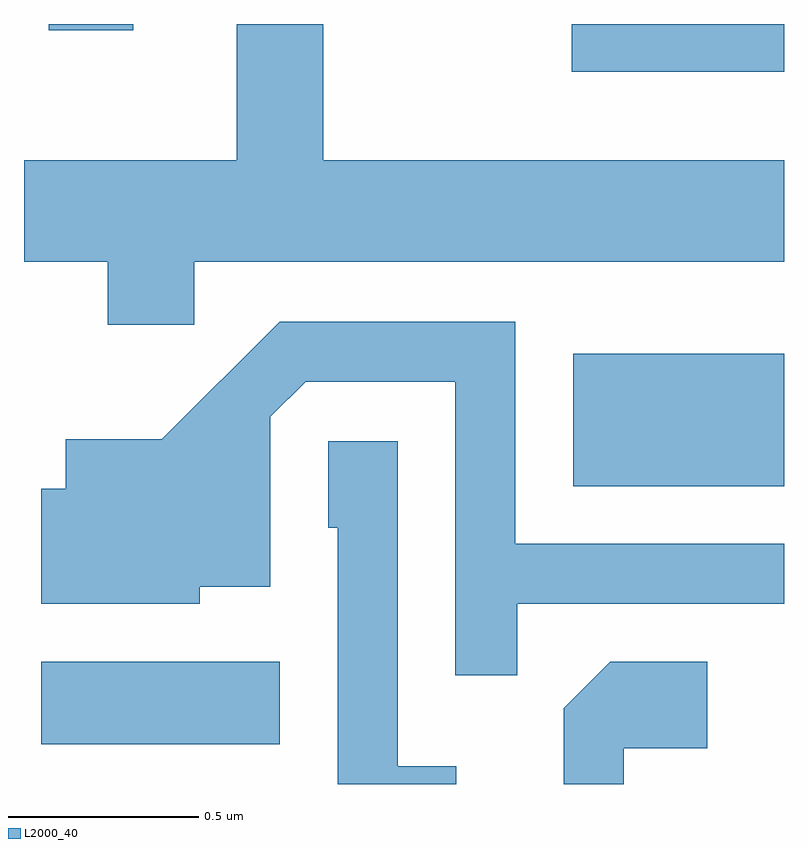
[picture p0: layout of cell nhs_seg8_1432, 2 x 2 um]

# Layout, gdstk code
import gdstk
lib = gdstk.Library(unit=1e-6, precision=1e-09)
def R(c, l, rs):  # rectangles x0, y0, x1, y1
    for r in rs: c.add(gdstk.rectangle(r[:2], r[2:], *l))
def P(c, l, *ps):  # polygons
    for p in ps: c.add(gdstk.Polygon(p, *l))
L2000_40 = (2000, 40)

nhs_seg8_1432 = lib.new_cell('nhs_seg8_1432')
R(nhs_seg8_1432, L2000_40, [(195.656,1868.446,196.284,1868.664), (197.056,1869.126,197.611,1869.474), (197.053,1870.216,197.611,1870.342), (195.676,1870.326,195.899,1870.342)])
P(nhs_seg8_1432, L2000_40, [(196.059,1869.716),(197.611,1869.716),(197.611,1869.984),(196.399,1869.984),(196.399,1870.342),(196.171,1870.342),(196.171,1869.984),(195.611,1869.984),(195.611,1869.716),(195.831,1869.716),(195.831,1869.551),(196.059,1869.551)],
  [(196.909,1868.816),(197.611,1868.816),(197.611,1868.974),(196.904,1868.974),(196.904,1869.559),(196.284,1869.559),(195.974,1869.249),(195.721,1869.249),(195.721,1869.119),(195.656,1869.119),(195.656,1868.816),(196.074,1868.816),(196.074,1868.861),(196.259,1868.861),(196.259,1869.309),(196.352,1869.401),(196.746,1869.401),(196.746,1868.628),(196.909,1868.628)],
  [(196.748,1868.389),(196.594,1868.389),(196.594,1869.244),(196.411,1869.244),(196.411,1869.016),(196.436,1869.016),(196.436,1868.342),(196.748,1868.342)],
  [(197.189,1868.436),(197.409,1868.436),(197.409,1868.664),(197.154,1868.664),(197.031,1868.542),(197.031,1868.342),(197.189,1868.342)])

lib.write_gds('nhs_seg8_1432.gds')
